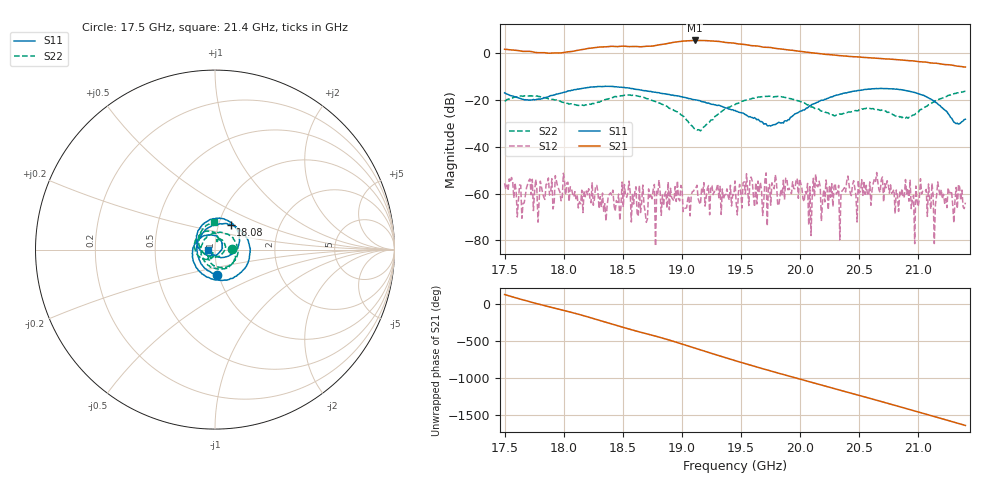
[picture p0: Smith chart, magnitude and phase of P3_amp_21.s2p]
!Created with skrf (http://scikit-rf.org).
# GHz S RI R 50.0
!freq ReS11 ImS11 ReS21 ImS21 ReS12 ImS12 ReS22 ImS22
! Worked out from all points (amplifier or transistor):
!   401 points, 17.5 GHz to 21.4 GHz, reference 50 ohm
!   highest |S21| = 5.5 dB at 19.11 GHz (marker M1)
!   |S21| within 3 dB of that: 18.28 GHz to 19.75 GHz (1.471 GHz wide, 7.74 % of centre)
!   unconditionally stable (mu >= 1): start of sweep to end of sweep
!   at 18.14 GHz: K = 661.60, MAG = 1.7 dB, |S12| = -64.3 dB
!   at 19.45 GHz: K = 160.60, MAG = 4.4 dB, |S12| = -54.5 dB
!   at 21.4 GHz: K = 1490.73, MAG = -5.7 dB, |S12| = -63.9 dB
!   S11 on the Smith chart (normalised r, x): 17.5 GHz: 0.98, -0.29; 18.08 GHz: 1.14, +0.32; 21.4 GHz: 0.92, -0.00
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17.5  0.00914 -0.1432  -0.7876 0.9417  -0.00139 0.000908  0.0959 0.00308
17.773  -0.0969 0.038  1.031 0.1309  0.000443 0.00116  0.0659 -0.1041
18.07525  0.0876 0.1369  -0.4621 -1.004  0.000759 0.000638  -0.0749 -0.0324
18.15325  0.1416 0.1081  -1.03 -0.6306  0.00116 0.000271  -0.0769 0.0172
18.28  0.1935 0.0137  -1.197 0.6109  0.000479 -0.00142  -0.0194 0.0858
18.42625  0.16 -0.1111  0.1703 1.398  -1.11e-05 -0.00056  0.0919 0.072
18.60175  0.0235 -0.1707  1.411 0.0756  0.000341 -0.001  0.1038 -0.067
18.8065  -0.1062 -0.0978  0.1548 -1.52  -0.000486 -0.0019  -0.0091 -0.0867
18.982  -0.1194 0.0153  -1.752 -0.3981  -0.000701 3.17e-05  -0.0381 -0.0351
19.10875  -0.0746 0.0696  -1.175 1.482  0.000958 0.000867  -0.0185 -0.0153
19.20625  -0.0345 0.0804  0.3607 1.843  0.000602 0.000598  -0.00662 -0.0292
19.30375  0.00253 0.0771  1.57 0.9067  0.00163 -4.26e-05  -0.0175 -0.0459
19.45  0.034 0.0499  1.233 -1.09  0.00161 0.000951  -0.0619 -0.0514
19.57675  0.0401 0.0195  -0.2729 -1.453  0.00215 -0.000115  -0.1034 -0.0204
19.7425  0.0225 -0.0178  -1.339 -0.0864  0.000643 -0.00144  -0.1035 0.0637
19.918  -0.0249 -0.0347  -0.2939 1.138  -0.00065 -0.000895  -0.0314 0.1032
20.10325  -0.0816 -0.00514  0.9525 0.3906  -0.000712 -0.000438  0.0152 0.0702
20.3665  -0.0958 0.1031  -0.0354 -0.8868  -0.00111 0.000524  0.0108 0.0508
20.5615  -0.0211 0.1685  -0.8127 -0.037  0.00102 0.00111  0.0399 0.054
20.7565  0.0841 0.1537  -0.0812 0.7526  0.00042 0.000934  0.0541 -0.00279
21.13675  0.091 -0.0277  0.153 -0.6005  3.27e-06 8.57e-05  -0.0888 0.0279
21.4  -0.039 -0.00131  -0.4895 0.1421  -0.000363 -0.000529  -0.00717 0.1546
